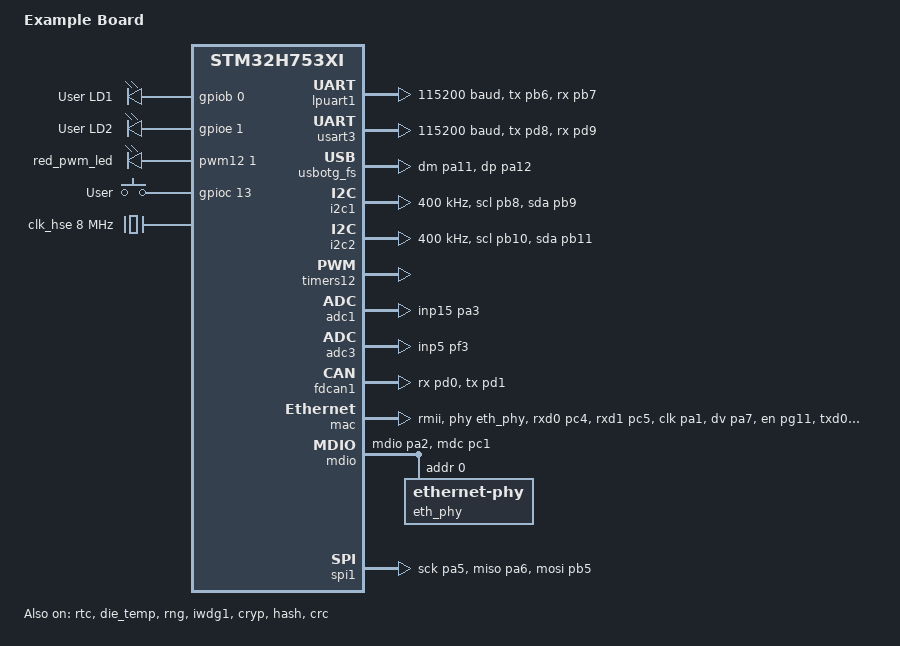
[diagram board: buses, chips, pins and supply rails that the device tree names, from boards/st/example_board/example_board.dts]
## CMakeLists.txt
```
cmake_minimum_required(VERSION 3.28.0)

list(
    APPEND 
    EXTRA_CONF_FILE
        ${CMAKE_CURRENT_SOURCE_DIR}/embedded-pio/zephyrcan/zephyrcan.conf
        ${CMAKE_CURRENT_SOURCE_DIR}/embedded-pio/zephyrethernet/zephyrethernet.conf
        ${CMAKE_CURRENT_SOURCE_DIR}/embedded-pio/updatemanager_eth/updatemanager_eth.conf
)

find_package(Zephyr REQUIRED HINTS $ENV{ZEPHYR_BASE})
project(canExample)

add_subdirectory(embedded-pio/zephyrcan)
add_subdirectory(embedded-pio/zephyrethernet)
add_subdirectory(embedded-pio/updatemanager_eth)

target_include_directories(app 
    PRIVATE 
        inc
)

target_sources(app 
    PRIVATE 
        src/main.cpp
        src/examplecan.cpp
        inc/examplecan.h
        inc/const.h
)

target_link_libraries(app
    PRIVATE
        zephyrcan
        zephyrethernet
        updatemanager_eth
)
```

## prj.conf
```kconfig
CONFIG_LOG=y

CONFIG_CPP=y
CONFIG_STD_CPP17=y
CONFIG_GLIBCXX_LIBCPP=y
CONFIG_NEWLIB_LIBC=y
CONFIG_HEAP_MEM_POOL_SIZE=4096
```

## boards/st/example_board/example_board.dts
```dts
/*
 * Copyright (c) 2021 Blue Clover Devices
 *
 * SPDX-License-Identifier: Apache-2.0
 */

/dts-v1/;
#include <st/h7/stm32h753Xi.dtsi>
#include <st/h7/stm32h753zitx-pinctrl.dtsi>
#include "arduino_r3_connector.dtsi"
#include <zephyr/dt-bindings/input/input-event-codes.h>

/ {
	model = "Example Board";
	compatible = "st,example-board";

	chosen {
		zephyr,console = &usart3;
		zephyr,shell-uart = &usart3;
		zephyr,sram = &sram0;
		zephyr,flash = &flash0;
		zephyr,dtcm = &dtcm;
		zephyr,code-partition = &slot0_partition;
		zephyr,canbus = &fdcan1;
	};

	leds: leds {
		compatible = "gpio-leds";

		green_led: led_0 {
			gpios = <&gpiob 0 GPIO_ACTIVE_HIGH>;
			label = "User LD1";
		};

		yellow_led: led_1 {
			gpios = <&gpioe 1 GPIO_ACTIVE_HIGH>;
			label = "User LD2";
		};
	};

	pwmleds {
		compatible = "pwm-leds";

		red_pwm_led: red_pwm_led {
			pwms = <&pwm12 1 PWM_MSEC(20) PWM_POLARITY_NORMAL>;
		};
	};

	gpio_keys {
		compatible = "gpio-keys";

		user_button: button_0 {
			label = "User";
			gpios = <&gpioc 13 GPIO_ACTIVE_HIGH>;
			zephyr,code = <INPUT_KEY_0>;
		};
	};

	aliases {
		die-temp0 = &die_temp;
		led0 = &green_led;
		led1 = &yellow_led;
		pwm-led0 = &red_pwm_led;
		rtc = &rtc;
		sw0 = &user_button;
		volt-sensor1 = &vbat;
		watchdog0 = &iwdg;
	};
};

&clk_lsi {
	status = "okay";
};

&clk_hsi48 {
	status = "okay";
};

&clk_hse {
	hse-bypass;
	clock-frequency = <DT_FREQ_M(8)>; /* STLink 8MHz clock */
	status = "okay";
};

&pll {
	div-m = <2>;
	mul-n = <240>;
	div-p = <2>;
	div-q = <2>;
	div-r = <2>;
	clocks = <&clk_hse>;
	status = "okay";
};

&pll2 {
	div-m = <4>;
	mul-n = <120>;
	div-p = <2>;
	div-q = <3>; /* gives 80MHz to the FDCAN */
	div-r = <2>;
	clocks = <&clk_hse>;
	status = "okay";
};

&rcc {
	clocks = <&pll>;
	clock-frequency = <DT_FREQ_M(480)>;
	d1cpre = <1>;
	hpre = <2>;
	d1ppre = <2>;
	d2ppre1 = <2>;
	d2ppre2 = <2>;
	d3ppre = <2>;
};

&pwr {
	power-supply = "ldo";
};

&lpuart1 {
	pinctrl-0 = <&lpuart1_tx_pb6 &lpuart1_rx_pb7>;
	pinctrl-names = "default";
	current-speed = <115200>;
	status = "okay";
};

&usart3 {
	pinctrl-0 = <&usart3_tx_pd8 &usart3_rx_pd9>;
	pinctrl-names = "default";
	current-speed = <115200>;
	status = "okay";
};

zephyr_udc0: &usbotg_fs {
	pinctrl-0 = <&usb_otg_fs_dm_pa11 &usb_otg_fs_dp_pa12>;
	pinctrl-names = "default";
	status = "okay";
};

&rtc {
	clocks = <&rcc STM32_CLOCK(APB4, 16)>,
		 <&rcc STM32_SRC_LSI RTC_SEL(2)>;
	status = "okay";
};

&i2c1 {
	pinctrl-0 = <&i2c1_scl_pb8 &i2c1_sda_pb9>;
	pinctrl-names = "default";
	scl-gpios = <&gpiob 8 GPIO_ACTIVE_HIGH>;
	sda-gpios = <&gpiob 9 GPIO_ACTIVE_HIGH>;
	status = "okay";
	clock-frequency = <I2C_BITRATE_FAST>;
};

&i2c2 {
	pinctrl-0 = <&i2c2_scl_pb10 &i2c2_sda_pb11>;
	pinctrl-names = "default";
	scl-gpios = <&gpiob 10 GPIO_ACTIVE_HIGH>;
	sda-gpios = <&gpiob 11 GPIO_ACTIVE_HIGH>;
	status = "okay";
	clock-frequency = <I2C_BITRATE_FAST>;
};

&timers12 {
	st,prescaler = <10000>;
	status = "okay";

	pwm12: pwm {
		status = "okay";
		pinctrl-0 = <&tim12_ch1_pb14>;
		pinctrl-names = "default";
	};
};

&adc1 {
	pinctrl-0 = <&adc1_inp15_pa3>;
	pinctrl-names = "default";
	st,adc-clock-source = "SYNC";
	st,adc-prescaler = <4>;
	status = "okay";
};

&adc3 {
	pinctrl-0 = <&adc3_inp5_pf3>;
	pinctrl-names = "default";
	st,adc-clock-source = "SYNC";
	st,adc-prescaler = <4>;
	status = "okay";
};

&die_temp {
	status = "okay";
};

&rng {
	status = "okay";
};

&fdcan1 {
	clocks = <&rcc STM32_CLOCK(APB1_2, 8)>,
		 <&rcc STM32_SRC_PLL2_Q FDCAN_SEL(2)>;
	pinctrl-0 = <&fdcan1_rx_pd0 &fdcan1_tx_pd1>;
	pinctrl-names = "default";
	status = "okay";
};

/*
 * WARNING:
 * Possible pin conflicts:
 *          The pins PA2 and PB13 may conflict on selection of ETH_STM32_HAL,
 *          since they are used in ST Zio or ST morpho connectors.
 *          To avoid conflicting states the jumpers JP6 and JP7
 *          must be in ON state.
 */
&mac {
	status = "okay";
	pinctrl-0 = <&eth_rxd0_pc4
		     &eth_rxd1_pc5
		     &eth_ref_clk_pa1
		     &eth_crs_dv_pa7
		     &eth_tx_en_pg11
		     &eth_txd0_pg13
		     &eth_txd1_pb13>;
	pinctrl-names = "default";
	phy-connection-type = "rmii";
	phy-handle = <&eth_phy>;
};

&mdio {
	status = "okay";
	pinctrl-0 = <&eth_mdio_pa2 &eth_mdc_pc1>;
	pinctrl-names = "default";

	eth_phy: ethernet-phy@0 {
		compatible = "ethernet-phy";
		reg = <0x00>;
	};
};

&spi1 {
	status = "okay";
	pinctrl-0 = <&spi1_sck_pa5 &spi1_miso_pa6 &spi1_mosi_pb5>;
	pinctrl-names = "default";
	cs-gpios = <&gpiod 14 (GPIO_ACTIVE_LOW | GPIO_PULL_UP)>;
};

&flash0 {
	partitions {
		#address-cells = <1>;
		#size-cells = <1>;
		ranges;

		/* 128KB for bootloader */
		boot_partition: partition@0 {
			compatible = "zephyr,mapped-partition";
			label = "mcuboot";
			reg = <0x00000000 DT_SIZE_K(128)>;
			read-only;
		};

		/* application image slot: 512KB */
		slot0_partition: partition@20000 {
			compatible = "zephyr,mapped-partition";
			label = "image-0";
			reg = <0x00020000 DT_SIZE_K(512)>;
		};

		/* storage: 384KB for settings */
		storage_partition: partition@a0000 {
			compatible = "zephyr,mapped-partition";
			label = "storage";
			reg = <0x000A0000 DT_SIZE_K(384)>;
		};

		//BANK 2
		/* backup slot: 640KB */
		slot1_partition: partition@100000 {
			compatible = "zephyr,mapped-partition";
			label = "image-1";
			reg = <0x00100000 DT_SIZE_K(640)>;
		};

		/* payload slot: 384KB */
		payload_partition: partition@1a0000 {
			compatible = "zephyr,mapped-partition";
			label = "payload";
			reg = <0x001a0000 DT_SIZE_K(384)>;
		};
	};
};

&iwdg1 {
	status = "okay";
};

&cryp {
	status = "okay";
};

&hash {
	status = "okay";
};

&crc {
	status = "okay";
};
```

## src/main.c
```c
#include <stdio.h>
#include "const.h"

int main(void) {
    printf("Hello World\n", CONFIG_BOARD_TARGET);
    return 0;
}
```

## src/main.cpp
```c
#include <stdio.h>
#include <zephyr/logging/log.h>
#include <zephyr/dfu/flash_img.h>
#include <zephyr/storage/flash_map.h>
#include <zephyr/dfu/mcuboot.h>
#include "const.h"
#include "otap.h"
#include "examplecan.h"
#include "updatemanager_eth.h"

LOG_MODULE_REGISTER(main, LOG_LEVEL_INF);

int main(void) {
    LOG_INF("Hello World TEST----- %s\n", CONFIG_BOARD_TARGET);
    ExampleCAN canBus(canDev, CAN_IDS, sizeof(CAN_IDS)/sizeof(CAN_IDS[0]), CAN_FREQUENCY);
    canBus.begin();

    if (canBus.canStatus() != CAN_OK) {
        LOG_ERR("CAN init failed: %d", canBus.canStatus());
        return -1;
    }
    
    while(1) {
        if (canBus.canStatus() != CAN_OK)
        {
            break;
        }

        k_msleep(1000);
    }
    
    return 0;
}

K_THREAD_DEFINE(update_manager, 4096, ethernetUpdateTask, NULL, NULL, NULL, 7, 0, 0);
```

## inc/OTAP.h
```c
#ifndef OTAP_H
#define OTAP_H
#define slot0_partition 3

#include <zephyr/dfu/flash_img.h>
#include <zephyr/dfu/mcuboot.h>
#include <zephyr/storage/flash_map.h>

#include <stdint.h>
#include <stddef.h>



#endif
```

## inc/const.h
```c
#ifndef CONST_H
#define CONST_H

#include <zephyr/kernel.h>
#include <zephyr/device.h>
#include <zephyr/devicetree.h>

#define USING_FDCAN     0

#define EXAMPLE_ID      0xFF

static const struct device * const canDev = DEVICE_DT_GET(DT_CHOSEN(zephyr_canbus));
static const uint32_t CAN_IDS[] = {EXAMPLE_ID};
static const uint32_t CAN_FREQUENCY = 250000;

#endif
```

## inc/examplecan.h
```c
#ifndef EXAMPLECAN_H
#define EXAMPLECAN_H

#include "zephyrcan.h"

class ExampleCAN : public ZephyrCAN {
    public:
        ExampleCAN(const struct device *canDevice, const uint32_t targetIDList[], size_t targetIDListSize, uint32_t frequency);
        void readHandler(struct can_frame * msg);
        int sendExampleData();
};

#endif
```

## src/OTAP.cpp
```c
#include "OTAP.h"




// We need to create a set of methods thaat allow for somone to write to flash howver



int offsset =0;
 struct flash_area *my_area;
 struct flash_area *my_area_main;
struct flash_img_context ctx;

// uint8_t area_id;


// intilizee the  flahs imiage context and 3
void initSwapping(void)
{
    int err;

    err = flash_img_init_id(&ctx,
                            FIXED_PARTITION_ID(slot1_partition));
    if (err) {
        printf("flash_img_init_id failed: %d\n", err);
        return;
    }



  err = flash_area_open(FIXED_PARTITION_ID(slot1_partition),
                          &my_area);
    if (err) {
        printf("Failed to open flash area: %d\n", err);
        return;
    }

  err = flash_area_open(FIXED_PARTITION_ID(slot0_partition),
                          &my_area_main);
    if (err) {
        printf("Failed to open flash area: %d\n", err);
        return;
    }

    
    err = boot_erase_img_bank(FIXED_PARTITION_ID(slot1_partition));
    if (err) {
        printf("Failed to erase image bank: %d\n", err);
        return;
    }
}



int writeToBackup(uint8_t * new_data,size_t	len, bool last){
    
    size_t bytes_written = flash_img_bytes_written(&ctx);

    if (bytes_written + len > my_area_main->fa_size) {
        return -1;
    }

    return flash_img_buffered_write(&ctx, new_data, len, last);

}



void writeToBackupDone(){


    boot_request_upgrade(BOOT_UPGRADE_TEST);


    //

}
```

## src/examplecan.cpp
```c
#include "examplecan.h"
#include <zephyr/logging/log.h>
#include "const.h"

LOG_MODULE_REGISTER(can_rx_example, LOG_LEVEL_INF);

ExampleCAN::ExampleCAN(const struct device * canDevice, const uint32_t targetIDList[], size_t targetIDListSize, uint32_t frequency) : 
    ZephyrCAN(canDevice, targetIDList, targetIDListSize, frequency) {}

void ExampleCAN::readHandler(struct can_frame * msg) {
    if ((msg->id) == EXAMPLE_ID) {
    }
}

int ExampleCAN::sendExampleData() {
    return 0;
}
```
